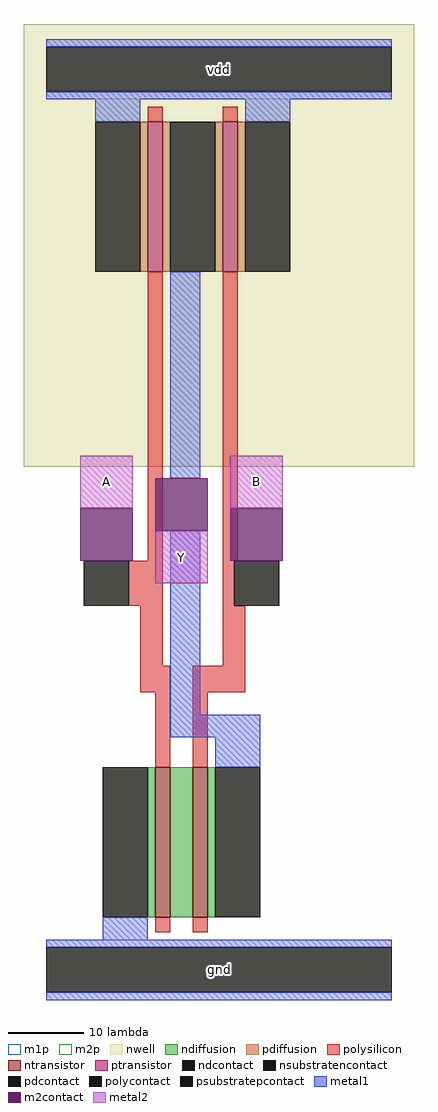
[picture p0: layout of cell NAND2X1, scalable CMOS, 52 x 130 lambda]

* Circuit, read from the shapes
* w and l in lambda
.subckt NAND2X1 A B Y vdd gnd
M1 n1 A gnd gnd nfet w=20 l=2
M2 Y B n1 gnd nfet w=20 l=2
M3 Y A vdd vdd pfet w=20 l=2
M4 vdd B Y vdd pfet w=20 l=2
.ends

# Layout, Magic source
magic
tech scmos
magscale 1 2
<< nwell >>
rect -12 134 92 252
<< ntransistor >>
rect 23 14 27 54
rect 33 14 37 54
<< ptransistor >>
rect 21 186 25 226
rect 41 186 45 226
<< ndiffusion >>
rect 21 14 23 54
rect 27 14 33 54
rect 37 14 39 54
<< pdiffusion >>
rect 19 186 21 226
rect 25 186 27 226
rect 39 186 41 226
rect 45 186 47 226
<< ndcontact >>
rect 9 14 21 54
rect 39 14 51 54
<< pdcontact >>
rect 7 186 19 226
rect 27 186 39 226
rect 47 186 59 226
<< psubstratepcontact >>
rect -6 -6 86 6
<< nsubstratencontact >>
rect -6 234 86 246
<< polysilicon >>
rect 21 226 25 230
rect 41 226 45 230
rect 21 109 25 186
rect 16 97 25 109
rect 19 81 25 97
rect 41 109 45 186
rect 41 97 44 109
rect 41 81 47 97
rect 19 74 27 81
rect 23 54 27 74
rect 33 74 47 81
rect 33 54 37 74
rect 23 10 27 14
rect 33 10 37 14
<< polycontact >>
rect 4 97 16 109
rect 44 97 56 109
<< metal1 >>
rect -6 246 86 248
rect -6 232 86 234
rect 7 226 19 232
rect 47 226 59 232
rect 27 131 35 186
rect 27 68 35 117
rect 27 62 51 68
rect 39 54 51 62
rect 9 8 21 14
rect -6 6 86 8
rect -6 -8 86 -6
<< m2contact >>
rect 3 109 17 123
rect 23 117 37 131
rect 43 109 57 123
<< metal2 >>
rect 3 123 17 137
rect 23 103 37 117
rect 43 123 57 137
<< m1p >>
rect -6 232 86 248
rect -6 -8 86 8
<< m2p >>
rect 3 123 17 137
rect 43 123 57 137
rect 23 103 37 117
<< labels >>
rlabel metal1 -6 -8 86 8 0 gnd
port 4 nsew ground bidirectional abutment
rlabel metal1 -6 232 86 248 0 vdd
port 3 nsew power bidirectional abutment
rlabel metal2 3 123 17 137 0 A
port 0 nsew signal input
rlabel metal2 43 123 57 137 0 B
port 1 nsew signal input
rlabel metal2 23 103 37 117 0 Y
port 2 nsew signal output
<< properties >>
string FIXED_BBOX 0 0 80 240
string LEFclass CORE
string LEFsite core
string LEFsymmetry X Y
<< end >>
